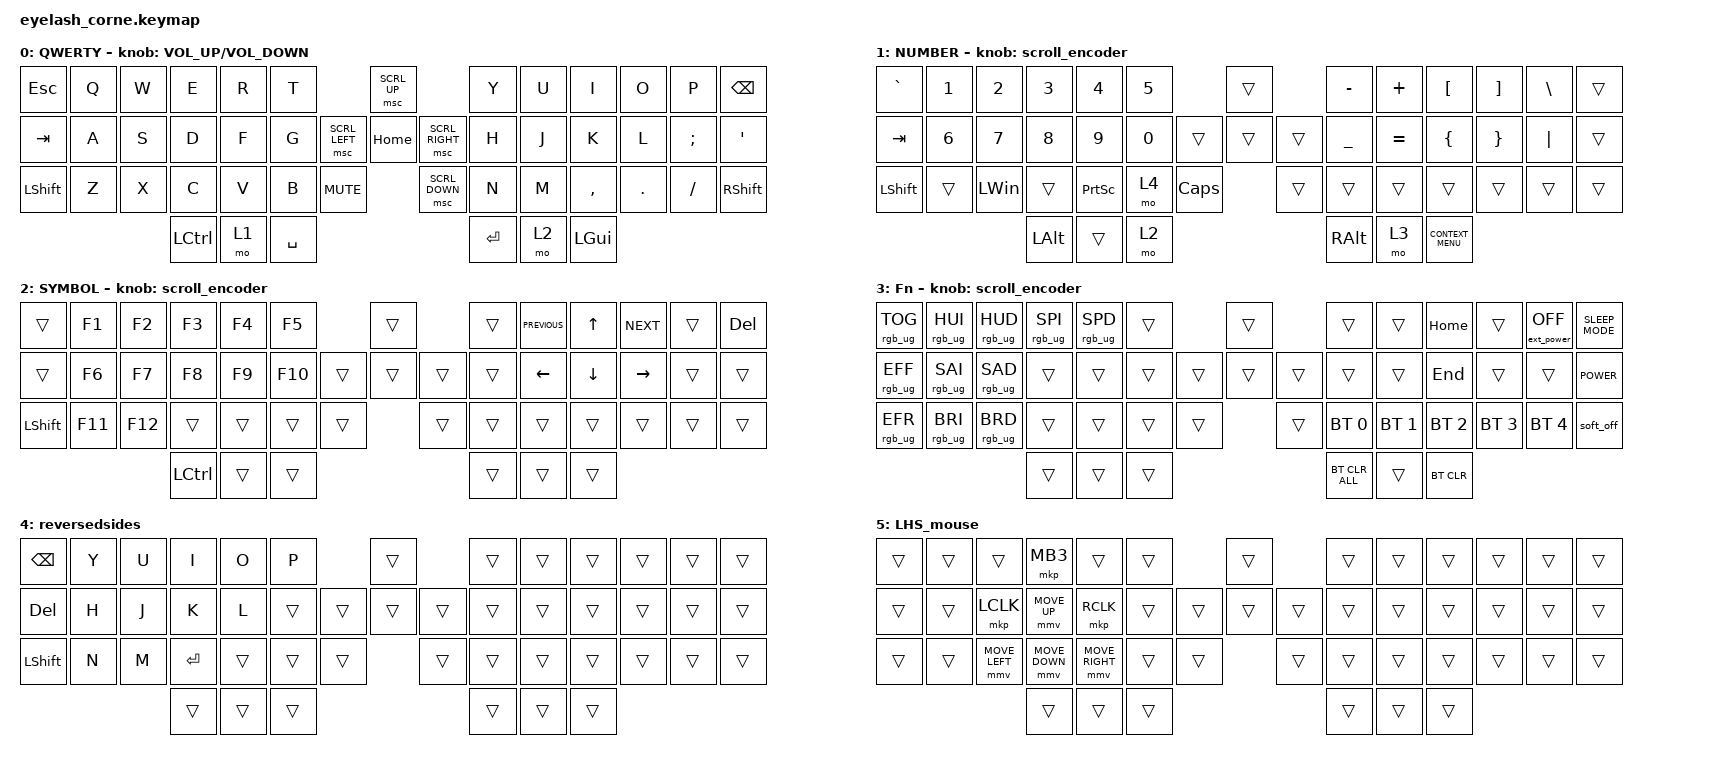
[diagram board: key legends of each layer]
#define ZMK_POINTING_DEFAULT_MOVE_VAL 1200  // 600
#define ZMK_POINTING_DEFAULT_SCRL_VAL 25   // 10

#include <input/processors.dtsi>
#include <zephyr/dt-bindings/input/input-event-codes.h>
#include <behaviors.dtsi>
#include <dt-bindings/zmk/bt.h>
#include <dt-bindings/zmk/ext_power.h>
#include <dt-bindings/zmk/keys.h>
#include <dt-bindings/zmk/pointing.h>
#include <dt-bindings/zmk/rgb.h>

&mmv_input_listener { input-processors = <&zip_xy_scaler 2 1>; };

&msc_input_listener { input-processors = <&zip_scroll_scaler 2 1>; };

&msc {
    acceleration-exponent = <1>;      // 0
    time-to-max-speed-ms = <100>;       // 300
    delay-ms = <0>;                   // 0
};

&mmv {
    time-to-max-speed-ms = <500>;
    acceleration-exponent = <1>;
    trigger-period-ms = <16>;
};

/ {
    behaviors {
        td0: td0 {
            compatible = "zmk,behavior-tap-dance";
            display-name = "Shift/Caps Lock Tap Dance";
            #binding-cells = <0>;
            bindings = <&kp LEFT_SHIFT>, <&kp CAPS>;
        };
    };

    rgb_encoder: rgb_encoder {
        compatible = "zmk,behavior-sensor-rotate";
        #sensor-binding-cells = <0>;
        bindings = <&rgb_ug RGB_BRI>, <&rgb_ug RGB_BRD>;
    };

    scroll_encoder: scroll_encoder {
        compatible = "zmk,behavior-sensor-rotate";
        #sensor-binding-cells = <0>;
        bindings = <&msc SCRL_DOWN>, <&msc SCRL_UP>;

        tap-ms = <100>;
    };

    keymap {
        compatible = "zmk,keymap";

        default_layer {
            display-name = "QWERTY";
            bindings = <
&kp ESCAPE      &kp Q  &kp W  &kp E      &kp R  &kp T                                    &msc SCRL_UP                     &kp Y      &kp U  &kp I         &kp O    &kp P     &kp BSPC
&kp TAB         &kp A  &kp S  &kp D      &kp F  &kp G                    &msc SCRL_LEFT  &kp HOME        &msc SCRL_RIGHT  &kp H      &kp J  &kp K         &kp L    &kp SEMI  &kp SQT
&kp LEFT_SHIFT  &kp Z  &kp X  &kp C      &kp V  &kp B      &kp C_MUTE                    &msc SCRL_DOWN                   &kp N      &kp M  &kp COMMA     &kp DOT  &kp FSLH  &kp RIGHT_SHIFT
                              &kp LCTRL  &mo 1  &kp SPACE                                                                 &kp ENTER  &mo 2  &kp LEFT_GUI
            >;

            sensor-bindings = <&inc_dec_kp C_VOLUME_UP C_VOLUME_DOWN>;
        };

        numAndSym {
            display-name = "NUMBER";
            bindings = <
&kp GRAVE       &kp NUMBER_1  &kp NUMBER_2  &kp NUMBER_3  &kp NUMBER_4     &kp N5                          &trans          &kp MINUS      &kp PLUS   &kp LEFT_BRACKET    &kp RIGHT_BRACKET  &kp BACKSLASH  &trans
&kp TAB         &kp NUMBER_6  &kp NUMBER_7  &kp N8        &kp N9           &kp N0                  &trans  &trans  &trans  &kp UNDER      &kp EQUAL  &kp LEFT_BRACE      &kp RIGHT_BRACE    &kp PIPE       &trans
&kp LEFT_SHIFT  &trans        &kp LEFT_WIN  &trans        &kp PRINTSCREEN  &mo 4   &kp CAPSLOCK            &trans          &trans         &trans     &trans              &trans             &trans         &trans
                                            &kp LEFT_ALT  &trans           &mo 2                                           &kp RIGHT_ALT  &mo 3      &kp K_CONTEXT_MENU
            >;

            sensor-bindings = <&scroll_encoder>;
        };

        funcAndArrow {
            display-name = "SYMBOL";
            bindings = <
&trans     &kp F1   &kp F2   &kp F3     &kp F4  &kp F5                     &trans          &trans  &kp C_PREVIOUS  &kp UP_ARROW    &kp C_NEXT  &trans  &kp DELETE
&trans     &kp F6   &kp F7   &kp F8     &kp F9  &kp F10            &trans  &trans  &trans  &trans  &kp LEFT        &kp DOWN_ARROW  &kp RIGHT   &trans  &trans
&kp LSHFT  &kp F11  &kp F12  &trans     &trans  &trans   &trans            &trans          &trans  &trans          &trans          &trans      &trans  &trans
                             &kp LCTRL  &trans  &trans                                     &trans  &trans          &trans
            >;

            sensor-bindings = <&scroll_encoder>;
        };

        rgbAndBt {
            display-name = "Fn";
            bindings = <
&rgb_ug RGB_TOG  &rgb_ug RGB_HUI  &rgb_ug RGB_HUD  &rgb_ug RGB_SPI  &rgb_ug RGB_SPD  &trans                    &trans          &trans          &trans        &kp HOME      &trans        &ext_power EP_OFF  &kp C_SLEEP_MODE
&rgb_ug RGB_EFF  &rgb_ug RGB_SAI  &rgb_ug RGB_SAD  &trans           &trans           &trans            &trans  &trans  &trans  &trans          &trans        &kp END       &trans        &trans             &kp C_POWER
&rgb_ug RGB_EFR  &rgb_ug RGB_BRI  &rgb_ug RGB_BRD  &trans           &trans           &trans  &trans            &trans          &bt BT_SEL 0    &bt BT_SEL 1  &bt BT_SEL 2  &bt BT_SEL 3  &bt BT_SEL 4       &soft_off
                                                   &trans           &trans           &trans                                    &bt BT_CLR_ALL  &trans        &bt BT_CLR
            >;

            sensor-bindings = <&scroll_encoder>;
        };

        reversedsides {
            bindings = <
&kp BACKSPACE   &kp Y  &kp U  &kp I      &kp O   &kp P                     &trans          &trans  &trans  &trans  &trans  &trans  &trans
&kp DELETE      &kp H  &kp J  &kp K      &kp L   &trans            &trans  &trans  &trans  &trans  &trans  &trans  &trans  &trans  &trans
&kp LEFT_SHIFT  &kp N  &kp M  &kp ENTER  &trans  &trans  &trans            &trans          &trans  &trans  &trans  &trans  &trans  &trans
                              &trans     &trans  &trans                                    &trans  &trans  &trans
            >;
        };

        LHS_mouse {
            bindings = <
&trans  &trans  &trans          &mkp MB3        &trans           &trans                    &trans          &trans  &trans  &trans  &trans  &trans  &trans
&trans  &trans  &mkp LCLK       &mmv MOVE_UP    &mkp RCLK        &trans            &trans  &trans  &trans  &trans  &trans  &trans  &trans  &trans  &trans
&trans  &trans  &mmv MOVE_LEFT  &mmv MOVE_DOWN  &mmv MOVE_RIGHT  &trans  &trans            &trans          &trans  &trans  &trans  &trans  &trans  &trans
                                &trans          &trans           &trans                                    &trans  &trans  &trans
            >;
        };
    };
};
